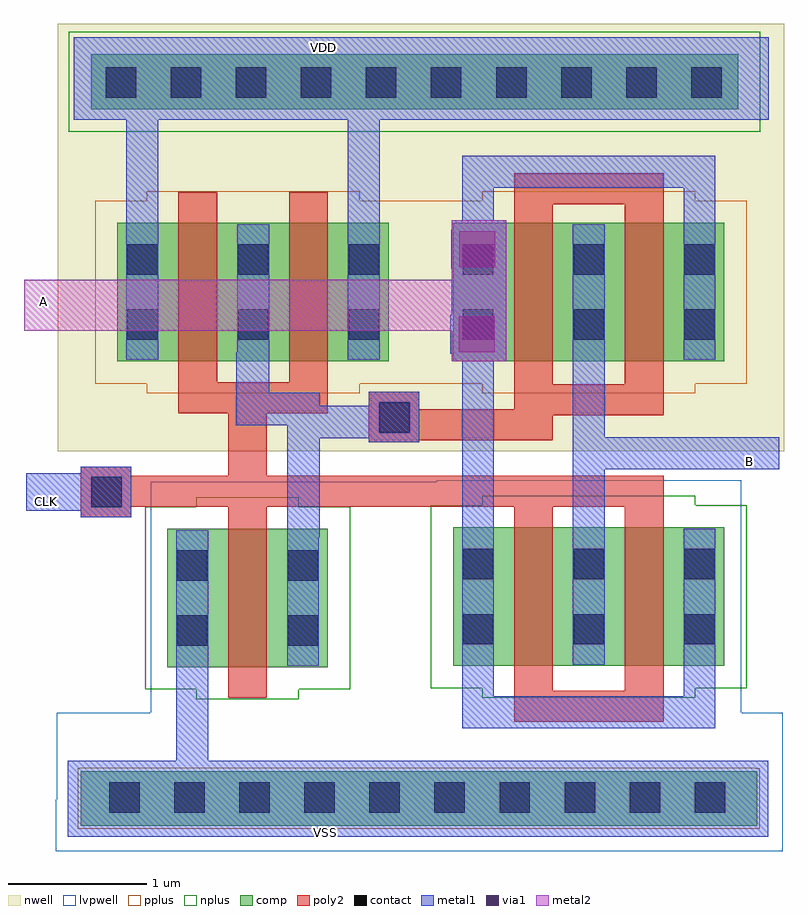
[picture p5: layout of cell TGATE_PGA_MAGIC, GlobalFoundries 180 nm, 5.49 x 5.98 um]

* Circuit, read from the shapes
.subckt TGATE_PGA_MAGIC A B CLK VDD VSS
XM1 n1 CLK VSS VSS nfet_03v3 w=1u l=0.28u
XM2 B CLK A VSS nfet_03v3 w=1u l=0.28u m=2
XM3 n1 CLK VDD VDD pfet_03v3 w=1u l=0.28u m=2
XM4 B n1 A VDD pfet_03v3 w=1u l=0.28u m=2
.ends

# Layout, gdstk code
import gdstk
lib = gdstk.Library(unit=1e-6, precision=1e-09)
def R(c, l, rs):  # rectangles x0, y0, x1, y1
    for r in rs: c.add(gdstk.rectangle(r[:2], r[2:], *l))
def A(c, l, x, y, w, h, nx, ny, dx, dy):  # array of equal rectangles
    R(c, l, [(x+i*dx, y+j*dy, x+i*dx+w, y+j*dy+h) for i in range(nx) for j in range(ny)])
nwell = (21, 0)
comp = (22, 0)
poly2 = (30, 0)
pplus = (31, 0)
nplus = (32, 0)
contact = (33, 0)
metal1 = (34, 0)
via1 = (35, 0)
metal2 = (36, 0)
lvpwell = (204, 0)

pfet_03v3_6dzecv = lib.new_cell('pfet_03v3_6DZECV')
R(pfet_03v3_6dzecv, nwell, [(-1.41,-1.15,1.41,1.15)])
R(pfet_03v3_6dzecv, comp, [(-0.98,-0.5,0.98,0.5)])
R(pfet_03v3_6dzecv, poly2, [(-0.54,-0.72,-0.26,0.72), (0.26,-0.72,0.54,0.72)])
R(pfet_03v3_6dzecv, pplus, [(-0.77,-0.73,0.77,-0.66), (-1.14,-0.66,1.14,0.66), (-0.77,0.66,0.77,0.73)])
A(pfet_03v3_6dzecv, contact, -0.91, -0.345, 0.22, 0.22, 3, 2, 0.8, 0.47)
A(pfet_03v3_6dzecv, metal1, -0.915, -0.49, 0.23, 0.98, 3, 1, 0.8, 0)

nfet_03v3_dnq7ws = lib.new_cell('nfet_03v3_DNQ7WS')
R(nfet_03v3_dnq7ws, comp, [(-0.58,-0.5,0.58,0.5)])
R(nfet_03v3_dnq7ws, poly2, [(-0.14,-0.72,0.14,0.72)])
R(nfet_03v3_dnq7ws, nplus, [(-0.37,-0.73,0.37,-0.66), (-0.74,-0.66,0.74,0.66), (-0.37,0.66,0.37,0.73)])
R(nfet_03v3_dnq7ws, contact, [(-0.51,-0.345,-0.29,-0.125), (0.29,-0.345,0.51,-0.125), (-0.51,0.125,-0.29,0.345), (0.29,0.125,0.51,0.345)])
R(nfet_03v3_dnq7ws, metal1, [(-0.515,-0.49,-0.285,0.49), (0.285,-0.49,0.515,0.49)])
R(nfet_03v3_dnq7ws, lvpwell, [(-0.7,-0.84,0.7,0.84)])

nfet_03v3_dnl5ws = lib.new_cell('nfet_03v3_DNL5WS')
R(nfet_03v3_dnl5ws, comp, [(-0.98,-0.5,0.98,0.5)])
R(nfet_03v3_dnl5ws, poly2, [(-0.54,-0.72,-0.26,0.72), (0.26,-0.72,0.54,0.72)])
R(nfet_03v3_dnl5ws, nplus, [(-0.77,-0.73,0.77,-0.66), (-1.14,-0.66,1.14,0.66), (-0.77,0.66,0.77,0.73)])
A(nfet_03v3_dnl5ws, contact, -0.91, -0.345, 0.22, 0.22, 3, 2, 0.8, 0.47)
A(nfet_03v3_dnl5ws, metal1, -0.915, -0.49, 0.23, 0.98, 3, 1, 0.8, 0)
R(nfet_03v3_dnl5ws, lvpwell, [(-1.1,-0.84,1.1,0.84)])

tgate_pga_magic = lib.new_cell('TGATE_PGA_MAGIC')
R(tgate_pga_magic, nwell, [(-0.18,0.255,0.185,0.43), (-2.425,2.27,2.82,3.09)])
R(tgate_pga_magic, comp, [(-2.26,-2.705,2.625,-2.31), (-2.185,2.47,2.49,2.87)])
R(tgate_pga_magic, poly2, [(0.87,-1.955,1.95,-1.73), (-2.26,-0.475,-1.895,-0.4), (-2.26,-0.4,1.95,-0.175), (-2.26,-0.175,-1.895,-0.11), (-1.195,-0.175,-0.915,0.275), (-0.18,0.065,0.185,0.08), (-0.18,0.08,1.15,0.26), (-0.18,0.26,1.95,0.305), (-1.555,0.275,-0.475,0.5), (-0.18,0.305,0.185,0.43), (0.87,0.305,1.95,0.485), (0.87,0.485,1.15,0.54), (0.87,1.785,1.95,2.01)])
R(tgate_pga_magic, pplus, [(-2.28,-2.725,2.645,-2.29), (-2.265,-2.29,2.61,-2.285), (0.125,0.49,0.27,1.81)])
R(tgate_pga_magic, nplus, [(-2.345,2.31,2.65,3.03)])
A(tgate_pga_magic, contact, -2.055, -2.61, 0.22, 0.22, 10, 1, 0.47, 0)
A(tgate_pga_magic, contact, -2.08, 2.555, 0.22, 0.22, 10, 1, 0.47, 0)
R(tgate_pga_magic, contact, [(-2.185,-0.405,-1.965,-0.185), (-0.105,0.135,0.115,0.355)])
R(tgate_pga_magic, metal1, [(-2.355,-2.785,2.705,-2.235), (-1.57,-2.235,-1.34,-1.395), (0.495,-2,2.325,-1.77), (0.495,-1.77,0.725,-1.45), (2.095,-1.77,2.325,-1.45), (-0.77,-0.62,-0.535,0.095), (0.495,-0.615,0.725,0.65), (1.295,-0.615,1.525,-0.13), (-2.26,-0.475,-1.895,-0.43), (-2.655,-0.43,-1.895,-0.16), (-2.26,-0.16,-1.895,-0.11), (1.295,-0.13,2.785,0.1), (-0.18,0.065,0.185,0.095), (-0.77,0.095,0.185,0.19), (1.295,0.1,1.525,0.715), (-1.135,0.19,0.185,0.33), (-1.135,0.33,-0.535,0.425), (-0.18,0.33,0.185,0.43), (-1.135,0.425,-0.9,0.715), (0.42,0.65,0.815,0.705), (0.41,0.705,0.815,0.985), (0.42,0.985,0.815,1.32), (0.415,1.32,0.815,1.6), (-1.93,1.585,-1.7,2.395), (-0.33,1.585,-0.1,2.395), (2.095,1.585,2.325,1.905), (0.42,1.6,0.815,1.67), (0.495,1.67,0.725,1.905), (0.495,1.905,2.325,2.135), (-2.31,2.395,2.71,2.99)])
R(tgate_pga_magic, via1, [(0.47,0.715,0.73,0.975), (0.475,1.33,0.735,1.59)])
R(tgate_pga_magic, metal2, [(0.42,0.65,0.815,0.87), (-2.67,0.87,0.815,1.24), (0.42,1.24,0.815,1.67)])
R(tgate_pga_magic, lvpwell, [(-2.44,-2.89,2.81,-2.515), (-2.435,-2.515,2.81,-1.89), (-1.755,-1.89,0.775,-0.945), (-1.755,-0.945,0.375,-0.22)])
tgate_pga_magic.add(gdstk.Reference(pfet_03v3_6dzecv, (1.41,1.15)))
tgate_pga_magic.add(gdstk.Reference(pfet_03v3_6dzecv, (-1.015,1.15)))
tgate_pga_magic.add(gdstk.Reference(nfet_03v3_dnq7ws, (-1.055,-1.06)))
tgate_pga_magic.add(gdstk.Reference(nfet_03v3_dnl5ws, (1.41,-1.05)))
tgate_pga_magic.add(gdstk.Label('VDD', (-0.505,2.92), layer=34, texttype=10))
tgate_pga_magic.add(gdstk.Label('VSS', (-0.49,-2.75), layer=34, texttype=10))
tgate_pga_magic.add(gdstk.Label('B', (2.57,-0.07), layer=34, texttype=10))
tgate_pga_magic.add(gdstk.Label('CLK', (-2.51,-0.36), layer=34, texttype=10))
tgate_pga_magic.add(gdstk.Label('A', (-2.53,1.08), layer=36, texttype=10))

lib.write_gds('TGATE_PGA_MAGIC.gds')
